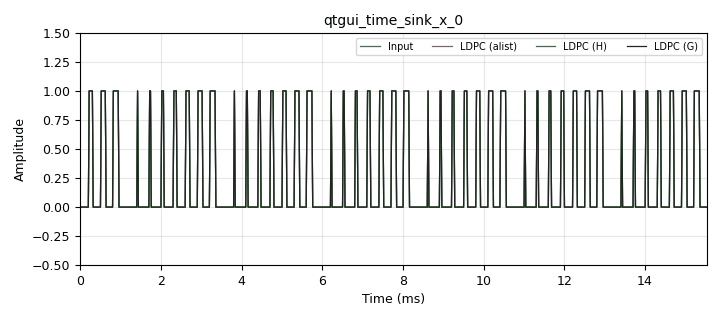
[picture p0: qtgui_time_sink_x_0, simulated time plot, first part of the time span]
<?xml version='1.0' encoding='utf-8'?>
<?grc format='1' created='3.7.9'?>
<flow_graph>
<block>
<key>options</key>
<param><key>id</key><value>fecapi_ldpc_decoders</value></param>
<param><key>category</key><value>Custom</value></param>
<param><key>generate_options</key><value>qt_gui</value></param>
</block>
<block>
<key>variable_ldpc_G_matrix_def</key>
<param><key>id</key><value>G</value></param>
<param><key>filename</key><value>gr.prefix() + "/share/gnuradio/fec/ldpc/" + "n_0100_k_0058_gen_matrix.alist"</value></param>
</block>
<block>
<key>variable_ldpc_H_matrix_def</key>
<param><key>id</key><value>H</value></param>
<param><key>filename</key><value>gr.prefix() + "/share/gnuradio/fec/ldpc/" + "n_0100_k_0042_gap_02.alist"</value></param>
<param><key>gap</key><value>2</value></param>
</block>
<block>
<key>variable_ldpc_decoder_def</key>
<param><key>id</key><value>ldpc_dec</value></param>
<param><key>file</key><value>gr.prefix() + "/share/gnuradio/fec/ldpc/" + "n_0100_k_0042_gap_02.alist"</value></param>
<param><key>max_iter</key><value>50</value></param>
<param><key>ndim</key><value>0</value></param>
<param><key>sigma</key><value>0.5</value></param>
</block>
<block>
<key>variable_ldpc_bit_flip_decoder_def</key>
<param><key>id</key><value>ldpc_dec_G</value></param>
<param><key>matrix_object</key><value>G</value></param>
<param><key>max_iterations</key><value>100</value></param>
<param><key>ndim</key><value>0</value></param>
</block>
<block>
<key>variable_ldpc_bit_flip_decoder_def</key>
<param><key>id</key><value>ldpc_dec_H</value></param>
<param><key>matrix_object</key><value>H</value></param>
<param><key>max_iterations</key><value>100</value></param>
<param><key>ndim</key><value>0</value></param>
</block>
<block>
<key>variable_ldpc_encoder_def</key>
<param><key>id</key><value>ldpc_enc</value></param>
<param><key>file</key><value>gr.prefix() + "/share/gnuradio/fec/ldpc/" + "n_0100_k_0042_gap_02.alist"</value></param>
<param><key>gap</key><value>2</value></param>
<param><key>ndim</key><value>0</value></param>
</block>
<block>
<key>variable_ldpc_encoder_G_def</key>
<param><key>id</key><value>ldpc_enc_G</value></param>
<param><key>G</key><value>G</value></param>
<param><key>ndim</key><value>0</value></param>
</block>
<block>
<key>variable_ldpc_encoder_H_def</key>
<param><key>id</key><value>ldpc_enc_H</value></param>
<param><key>ndim</key><value>0</value></param>
<param><key>H</key><value>H</value></param>
</block>
<block>
<key>variable</key>
<param><key>id</key><value>samp_rate</value></param>
<param><key>value</key><value>50000</value></param>
</block>
<block>
<key>analog_random_source_x</key>
<param><key>id</key><value>analog_random_source_x_0</value></param>
<param><key>_enabled</key><value>False</value></param>
<param><key>max</key><value>256</value></param>
<param><key>min</key><value>0</value></param>
<param><key>num_samps</key><value>1000</value></param>
<param><key>type</key><value>byte</value></param>
<param><key>repeat</key><value>True</value></param>
</block>
<block>
<key>blocks_char_to_float</key>
<param><key>id</key><value>blocks_char_to_float_0</value></param>
<param><key>scale</key><value>1</value></param>
</block>
<block>
<key>blocks_char_to_float</key>
<param><key>id</key><value>blocks_char_to_float_0_0</value></param>
<param><key>scale</key><value>1</value></param>
</block>
<block>
<key>blocks_char_to_float</key>
<param><key>id</key><value>blocks_char_to_float_0_0_0</value></param>
<param><key>scale</key><value>1</value></param>
</block>
<block>
<key>blocks_char_to_float</key>
<param><key>id</key><value>blocks_char_to_float_0_0_0_0</value></param>
<param><key>scale</key><value>1</value></param>
</block>
<block>
<key>blocks_char_to_float</key>
<param><key>id</key><value>blocks_char_to_float_0_1</value></param>
<param><key>scale</key><value>1</value></param>
</block>
<block>
<key>blocks_char_to_float</key>
<param><key>id</key><value>blocks_char_to_float_0_2</value></param>
<param><key>scale</key><value>1</value></param>
</block>
<block>
<key>blocks_char_to_float</key>
<param><key>id</key><value>blocks_char_to_float_0_2_0</value></param>
<param><key>scale</key><value>1</value></param>
</block>
<block>
<key>blocks_ctrlport_monitor_performance</key>
<param><key>id</key><value>blocks_ctrlport_monitor_performance_0</value></param>
<param><key>_enabled</key><value>False</value></param>
<param><key>en</key><value>True</value></param>
</block>
<block>
<key>blocks_throttle</key>
<param><key>id</key><value>blocks_throttle_0</value></param>
<param><key>samples_per_second</key><value>samp_rate</value></param>
<param><key>type</key><value>byte</value></param>
</block>
<block>
<key>blocks_unpack_k_bits_bb</key>
<param><key>id</key><value>blocks_unpack_k_bits_bb_0</value></param>
<param><key>k</key><value>8</value></param>
</block>
<block>
<key>blocks_vector_source_x</key>
<param><key>id</key><value>blocks_vector_source_x_0_1_0</value></param>
<param><key>type</key><value>byte</value></param>
<param><key>repeat</key><value>True</value></param>
<param><key>vector</key><value>(frame_size/15)*[0, 0, 1, 0, 3, 0, 7, 0, 15, 0, 31, 0, 63, 0, 127]</value></param>
</block>
<block>
<key>digital_map_bb</key>
<param><key>id</key><value>digital_map_bb_0_0</value></param>
<param><key>map</key><value>[-1, 1]</value></param>
</block>
<block>
<key>digital_map_bb</key>
<param><key>id</key><value>digital_map_bb_0_0_0</value></param>
<param><key>map</key><value>[-1, 1]</value></param>
</block>
<block>
<key>digital_map_bb</key>
<param><key>id</key><value>digital_map_bb_0_0_0_0</value></param>
<param><key>map</key><value>[-1, 1]</value></param>
</block>
<block>
<key>fec_extended_decoder</key>
<param><key>id</key><value>fec_extended_decoder_0</value></param>
<param><key>decoder_list</key><value>ldpc_dec_G</value></param>
<param><key>puncpat</key><value>puncpat</value></param>
<param><key>threadtype</key><value>none</value></param>
</block>
<block>
<key>fec_extended_decoder</key>
<param><key>id</key><value>fec_extended_decoder_0_1</value></param>
<param><key>decoder_list</key><value>ldpc_dec_H</value></param>
<param><key>puncpat</key><value>puncpat</value></param>
<param><key>threadtype</key><value>none</value></param>
</block>
<block>
<key>fec_extended_decoder</key>
<param><key>id</key><value>fec_extended_decoder_0_1_0</value></param>
<param><key>decoder_list</key><value>ldpc_dec</value></param>
<param><key>puncpat</key><value>puncpat</value></param>
<param><key>threadtype</key><value>none</value></param>
</block>
<block>
<key>fec_extended_encoder</key>
<param><key>id</key><value>fec_extended_encoder_1</value></param>
<param><key>encoder_list</key><value>ldpc_enc_G</value></param>
<param><key>puncpat</key><value>puncpat</value></param>
<param><key>threadtype</key><value>none</value></param>
</block>
<block>
<key>fec_extended_encoder</key>
<param><key>id</key><value>fec_extended_encoder_1_0</value></param>
<param><key>encoder_list</key><value>ldpc_enc_H</value></param>
<param><key>puncpat</key><value>puncpat</value></param>
<param><key>threadtype</key><value>none</value></param>
</block>
<block>
<key>fec_extended_encoder</key>
<param><key>id</key><value>fec_extended_encoder_1_0_0</value></param>
<param><key>encoder_list</key><value>ldpc_enc</value></param>
<param><key>puncpat</key><value>puncpat</value></param>
<param><key>threadtype</key><value>none</value></param>
</block>
<block>
<key>parameter</key>
<param><key>id</key><value>frame_size</value></param>
<param><key>label</key><value>Frame Size</value></param>
<param><key>type</key><value>intx</value></param>
<param><key>value</key><value>100</value></param>
</block>
<block>
<key>parameter</key>
<param><key>id</key><value>puncpat</value></param>
<param><key>type</key><value>string</value></param>
<param><key>value</key><value>'11'</value></param>
</block>
<block>
<key>qtgui_time_sink_x</key>
<param><key>id</key><value>qtgui_time_sink_x_0</value></param>
<param><key>color1</key><value>"blue"</value></param>
<param><key>label1</key><value>Input</value></param>
<param><key>alpha2</key><value>0.6</value></param>
<param><key>color2</key><value>"red"</value></param>
<param><key>label2</key><value>LDPC (alist)</value></param>
<param><key>color3</key><value>"green"</value></param>
<param><key>label3</key><value>LDPC (H)</value></param>
<param><key>color4</key><value>"black"</value></param>
<param><key>label4</key><value>LDPC (G)</value></param>
<param><key>name</key><value></value></param>
<param><key>nconnections</key><value>4</value></param>
<param><key>size</key><value>2048</value></param>
<param><key>srate</key><value>samp_rate</value></param>
<param><key>type</key><value>float</value></param>
<param><key>update_time</key><value>0.01</value></param>
<param><key>ymax</key><value>1.5</value></param>
<param><key>ymin</key><value>-0.5</value></param>
</block>
<connection><source_block_id>analog_random_source_x_0</source_block_id><sink_block_id>blocks_throttle_0</sink_block_id><source_key>0</source_key><sink_key>0</sink_key></connection>
<connection><source_block_id>blocks_char_to_float_0</source_block_id><sink_block_id>fec_extended_decoder_0</sink_block_id><source_key>0</source_key><sink_key>0</sink_key></connection>
<connection><source_block_id>blocks_char_to_float_0_0</source_block_id><sink_block_id>qtgui_time_sink_x_0</sink_block_id><source_key>0</source_key><sink_key>3</sink_key></connection>
<connection><source_block_id>blocks_char_to_float_0_0_0</source_block_id><sink_block_id>qtgui_time_sink_x_0</sink_block_id><source_key>0</source_key><sink_key>2</sink_key></connection>
<connection><source_block_id>blocks_char_to_float_0_0_0_0</source_block_id><sink_block_id>qtgui_time_sink_x_0</sink_block_id><source_key>0</source_key><sink_key>1</sink_key></connection>
<connection><source_block_id>blocks_char_to_float_0_1</source_block_id><sink_block_id>qtgui_time_sink_x_0</sink_block_id><source_key>0</source_key><sink_key>0</sink_key></connection>
<connection><source_block_id>blocks_char_to_float_0_2</source_block_id><sink_block_id>fec_extended_decoder_0_1</sink_block_id><source_key>0</source_key><sink_key>0</sink_key></connection>
<connection><source_block_id>blocks_char_to_float_0_2_0</source_block_id><sink_block_id>fec_extended_decoder_0_1_0</sink_block_id><source_key>0</source_key><sink_key>0</sink_key></connection>
<connection><source_block_id>blocks_throttle_0</source_block_id><sink_block_id>blocks_unpack_k_bits_bb_0</sink_block_id><source_key>0</source_key><sink_key>0</sink_key></connection>
<connection><source_block_id>blocks_unpack_k_bits_bb_0</source_block_id><sink_block_id>blocks_char_to_float_0_1</sink_block_id><source_key>0</source_key><sink_key>0</sink_key></connection>
<connection><source_block_id>blocks_unpack_k_bits_bb_0</source_block_id><sink_block_id>fec_extended_encoder_1</sink_block_id><source_key>0</source_key><sink_key>0</sink_key></connection>
<connection><source_block_id>blocks_unpack_k_bits_bb_0</source_block_id><sink_block_id>fec_extended_encoder_1_0</sink_block_id><source_key>0</source_key><sink_key>0</sink_key></connection>
<connection><source_block_id>blocks_unpack_k_bits_bb_0</source_block_id><sink_block_id>fec_extended_encoder_1_0_0</sink_block_id><source_key>0</source_key><sink_key>0</sink_key></connection>
<connection><source_block_id>blocks_vector_source_x_0_1_0</source_block_id><sink_block_id>blocks_throttle_0</sink_block_id><source_key>0</source_key><sink_key>0</sink_key></connection>
<connection><source_block_id>digital_map_bb_0_0</source_block_id><sink_block_id>blocks_char_to_float_0</sink_block_id><source_key>0</source_key><sink_key>0</sink_key></connection>
<connection><source_block_id>digital_map_bb_0_0_0</source_block_id><sink_block_id>blocks_char_to_float_0_2</sink_block_id><source_key>0</source_key><sink_key>0</sink_key></connection>
<connection><source_block_id>digital_map_bb_0_0_0_0</source_block_id><sink_block_id>blocks_char_to_float_0_2_0</sink_block_id><source_key>0</source_key><sink_key>0</sink_key></connection>
<connection><source_block_id>fec_extended_decoder_0</source_block_id><sink_block_id>blocks_char_to_float_0_0</sink_block_id><source_key>0</source_key><sink_key>0</sink_key></connection>
<connection><source_block_id>fec_extended_decoder_0_1</source_block_id><sink_block_id>blocks_char_to_float_0_0_0</sink_block_id><source_key>0</source_key><sink_key>0</sink_key></connection>
<connection><source_block_id>fec_extended_decoder_0_1_0</source_block_id><sink_block_id>blocks_char_to_float_0_0_0_0</sink_block_id><source_key>0</source_key><sink_key>0</sink_key></connection>
<connection><source_block_id>fec_extended_encoder_1</source_block_id><sink_block_id>digital_map_bb_0_0</sink_block_id><source_key>0</source_key><sink_key>0</sink_key></connection>
<connection><source_block_id>fec_extended_encoder_1_0</source_block_id><sink_block_id>digital_map_bb_0_0_0</sink_block_id><source_key>0</source_key><sink_key>0</sink_key></connection>
<connection><source_block_id>fec_extended_encoder_1_0_0</source_block_id><sink_block_id>digital_map_bb_0_0_0_0</sink_block_id><source_key>0</source_key><sink_key>0</sink_key></connection>
</flow_graph>
